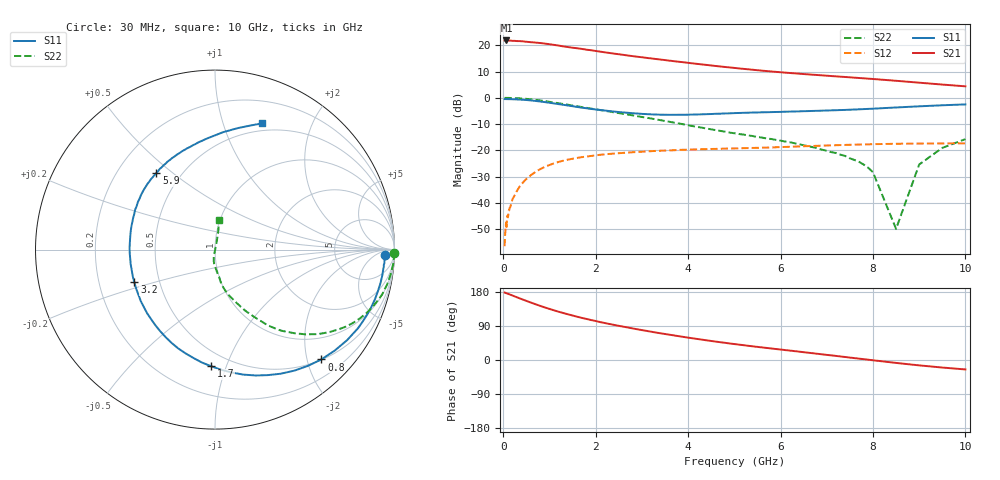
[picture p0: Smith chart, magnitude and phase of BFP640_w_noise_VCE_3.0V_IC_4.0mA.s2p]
! Infineon Technologies  Discrete & RF Semiconductors
! BFP640
! VCE =  3.0 V,  IC =  4.0 mA
! Common Emitter S-Parameters:  Apr 2013
# GHz  S  MA  R  50
!  f  S11  S21  S12  S22
! GHz  MAG  ANG  MAG  ANG  MAG  ANG  MAG  ANG
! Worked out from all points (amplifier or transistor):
!   99 points, 30 MHz to 10 GHz, reference 50 ohm
!   highest |S21| = 21.8 dB at 70 MHz (marker M1)
!   |S21| within 3 dB of that: start of sweep to 1.612 GHz
!   unconditionally stable (mu >= 1): 5.276 GHz to end of sweep
!   at 350 MHz: K = 0.05, MSG = 27.8 dB, |S12| = -33.9 dB
!   at 3.5 GHz: K = 0.77, MSG = 17.2 dB, |S12| = -20.1 dB
!   at 10 GHz: K = 1.17, MAG = 8.3 dB, |S12| = -17.3 dB
!   lowest NFmin = 0.54 dB at 450 MHz
!   S11 on the Smith chart (normalised r, x): 30 MHz: 28, -15; 800 MHz: 0.51, -2.27; 1.7 GHz: 0.39, -0.89; 3.2 GHz: 0.36, -0.17; 5.9 GHz: 0.37, +0.44; 10 GHz: 0.42, +1.35
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0.03  0.9466 -1.7  12.3 178.0  0.0015 77.8  0.9979 -1.0
0.06  0.9464 -3.5  12.29 176.6  0.0042 84.0  0.9975 -2.0
0.07  0.9461 -4.1  12.37 176.3  0.0032 96.3  0.9982 -2.2
0.09  0.9442 -5.2  12.32 175.3  0.0057 92.3  0.998 -3.0
0.2  0.9406 -11.5  12.15 170.2  0.0117 85.0  0.9916 -6.6
0.4  0.9221 -23.1  11.94 160.6  0.0228 78.5  0.9698 -13.3
0.8  0.8519 -45.9  11.04 142.8  0.0439 65.4  0.8926 -25.5
1  0.8065 -56.7  10.48 134.8  0.0527 59.3  0.8405 -31.0
1.2  0.7586 -67.2  9.883 127.3  0.0603 54.0  0.7876 -35.6
1.7  0.65 -91.9  8.536 111.1  0.0743 43.0  0.6681 -44.6
2.1  0.587 -110.6  7.582 100.0  0.0824 36.1  0.5851 -50.6
2.4  0.5479 -123.8  6.949 92.6  0.0868 31.9  0.5284 -54.2
3.2  0.4847 -158.0  5.631 74.7  0.0965 23.0  0.4043 -61.8
3.4  0.4778 -166.4  5.365 70.5  0.0984 21.0  0.3763 -63.9
4.2  0.483 165.0  4.425 55.5  0.1044 14.3  0.279 -71.7
5.1  0.5152 141.7  3.632 40.6  0.1095 8.3  0.2046 -78.6
5.9  0.5379 127.4  3.123 29.0  0.1146 4.1  0.1583 -81.2
6.7  0.5635 115.0  2.756 17.8  0.1213 -0.4  0.1149 -86.2
8  0.6219 93.7  2.285 -0.7  0.1312 -8.9  0.0383 -100.0
8.5  0.6556 86.1  2.112 -7.7  0.1335 -12.4  0.0032 60.0
9  0.6891 79.3  1.944 -14.2  0.1348 -15.8  0.0538 78.4
10  0.7502 69.6  1.657 -24.9  0.1364 -20.8  0.1636 83.1
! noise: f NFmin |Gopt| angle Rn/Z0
0.45  0.54  0.5  12  0.12
0.9  0.55  0.5  22  0.12
1.5  0.6  0.44  35  0.12
1.9  0.65  0.39  51  0.12
2.4  0.7  0.36  59  0.11
3.5  0.85  0.3  87  0.11
5.5  1.13  0.3  -163  0.12
10  1.9  0.64  -65  0.47
